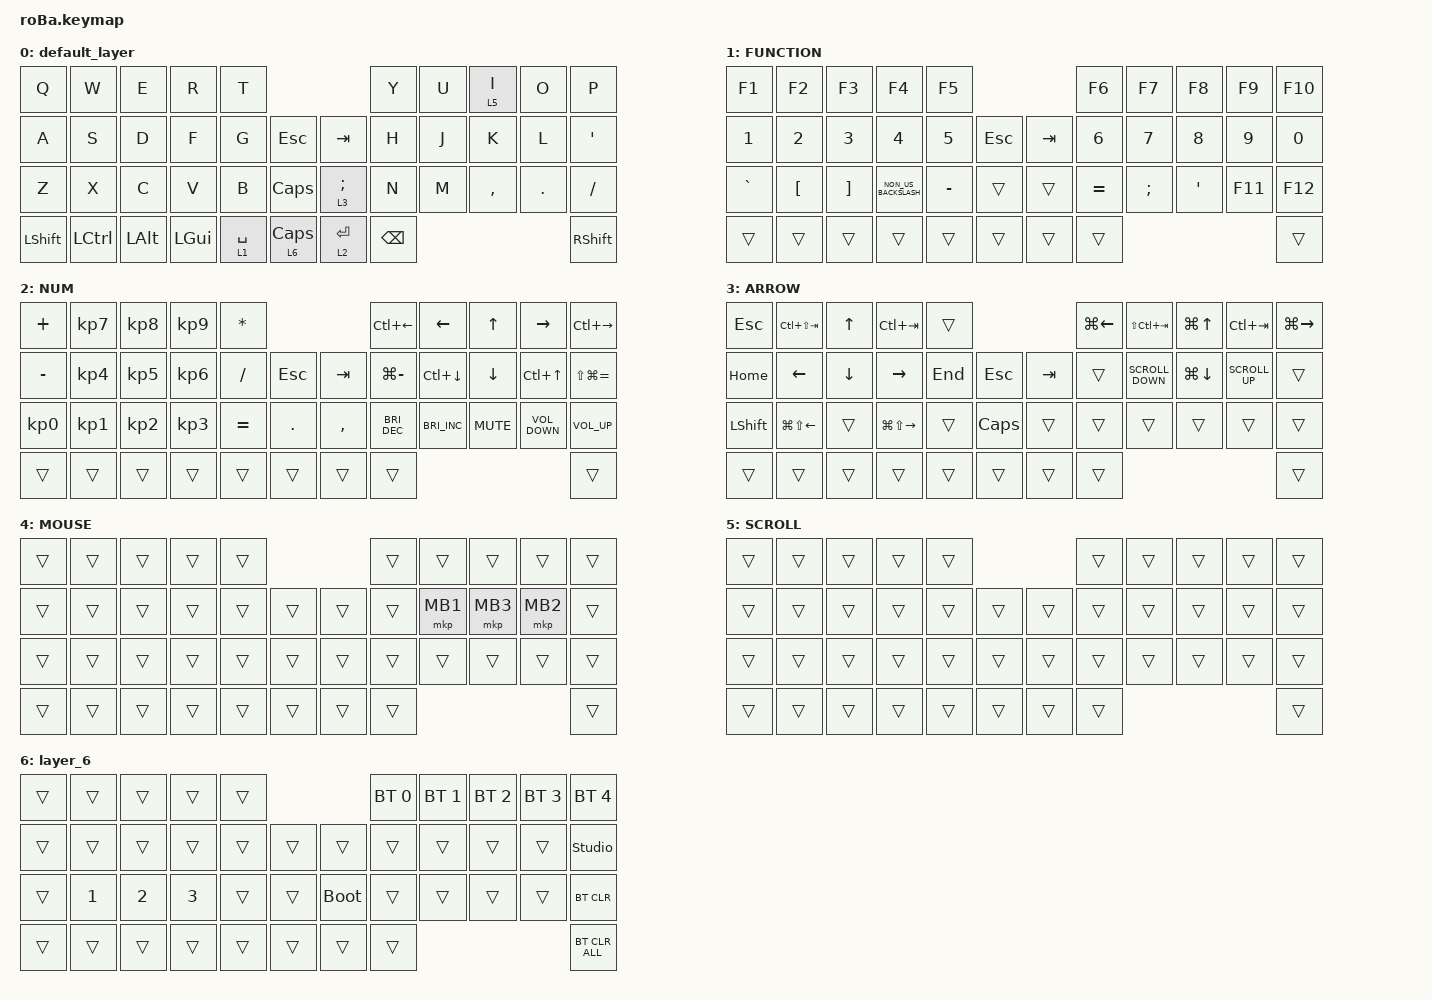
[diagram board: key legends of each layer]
#include <behaviors.dtsi>
#include <dt-bindings/zmk/bt.h>
#include <dt-bindings/zmk/keys.h>
#include <dt-bindings/zmk/pointing.h>

&mt {
    flavor = "balanced";
    quick-tap-ms = <0>;
};

&trackball {
    automouse-layer = <4>;
    scroll-layers = <5>;

    // arrows {
    //     layers = <3>;
    //     bindings =
    //         <&kp RIGHT_ARROW>,
    //         <&kp LEFT_ARROW>,
    //         <&kp UP_ARROW>,
    //         <&kp DOWN_ARROW>;
    //     tick = <10>;
    //     wait-ms = <5>;
    //     tap-ms = <5>;
    // };
};

/ {
    combos {
        compatible = "zmk,combos";

        tab {
            bindings = <&kp TAB>;
            key-positions = <11 12>;
        };

        shift_tab {
            bindings = <&kp LS(TAB)>;
            key-positions = <12 13>;
        };

        muhennkann {
            bindings = <&to_layer_0 INT_MUHENKAN>;
            key-positions = <11 10>;
        };

        double_quotation {
            bindings = <&kp DOUBLE_QUOTES>;
            key-positions = <20 21>;
        };

        eq {
            bindings = <&kp EQUAL>;
            key-positions = <24 25>;
        };
    };

    macros {
        to_layer_0: to_layer_0 {
            compatible = "zmk,behavior-macro-one-param";
            #binding-cells = <1>;
            bindings = <&to 0 &macro_param_1to1 &kp MACRO_PLACEHOLDER>;
            label = "TO_LAYER_0";
        };
    };

    behaviors {
        lt_to_layer_0: lt_to_layer_0 {
            compatible = "zmk,behavior-hold-tap";
            label = "LAYER_TAP_TO_0";
            bindings = <&mo>, <&to_layer_0>;

            #binding-cells = <2>;
            tapping-term-ms = <200>;
        };
    };

    keymap {
        compatible = "zmk,keymap";

        default_layer {
            bindings = <
&kp Q           &kp W             &kp E         &kp R         &kp T                                             &kp Y          &kp U  &lt 5 I    &kp O    &kp P
&kp A           &kp S             &kp D         &kp F         &kp G        &kp ESCAPE          &kp TAB          &kp H          &kp J  &kp K      &kp L    &kp SQT
&kp Z           &kp X             &kp C         &kp V         &kp B        &kp CAPS            &lt 3 SEMICOLON  &kp N          &kp M  &kp COMMA  &kp DOT  &kp SLASH
&kp LEFT_SHIFT  &kp LEFT_CONTROL  &kp LEFT_ALT  &kp LEFT_GUI  &lt 1 SPACE  &lt 6 CAPSLOCK      &lt 2 RETURN     &kp BACKSPACE                             &kp RIGHT_SHIFT
            >;
        };

        FUNCTION {
            bindings = <
&kp F1     &kp F2            &kp F3             &kp F4                &kp F5                                 &kp F6        &kp F7         &kp F8        &kp F9        &kp F10
&kp N1     &kp NUMBER_2      &kp NUMBER_3       &kp NUMBER_4          &kp NUMBER_5  &kp ESCAPE      &kp TAB  &kp NUMBER_6  &kp NUMBER_7   &kp NUMBER_8  &kp NUMBER_9  &kp NUMBER_0
&kp GRAVE  &kp LEFT_BRACKET  &kp RIGHT_BRACKET  &kp NON_US_BACKSLASH  &kp MINUS     &trans          &trans   &kp EQUAL     &kp SEMICOLON  &kp SQT       &kp F11       &kp F12
&trans     &trans            &trans             &trans                &trans        &trans          &trans   &trans                                                   &trans
            >;
        };

        NUM {
            bindings = <
&kp PLUS         &kp KP_NUMBER_7  &kp KP_NUMBER_8  &kp KP_NUMBER_9  &kp ASTERISK                             &kp LC(LEFT)          &kp LEFT              &kp UP_ARROW  &kp RIGHT          &kp LC(RIGHT)
&kp MINUS        &kp KP_NUMBER_4  &kp KP_NUMBER_5  &kp KP_NUMBER_6  &kp SLASH     &kp ESCAPE      &kp TAB    &kp LG(MINUS)         &kp LC(DOWN_ARROW)    &kp DOWN      &kp LC(UP_ARROW)   &kp LS(LG(EQUAL))
&kp KP_NUMBER_0  &kp KP_NUMBER_1  &kp KP_NUMBER_2  &kp KP_NUMBER_3  &kp EQUAL     &kp PERIOD      &kp COMMA  &kp C_BRIGHTNESS_DEC  &kp C_BRIGHTNESS_INC  &kp C_MUTE    &kp C_VOLUME_DOWN  &kp C_VOLUME_UP
&trans           &trans           &trans           &trans           &trans        &trans          &trans     &trans                                                                       &trans
            >;
        };

        ARROW {
            bindings = <
&kp ESCAPE      &kp LC(LS(TAB))         &kp UP_ARROW    &kp LC(TAB)              &trans                          &kp LG(LEFT)  &kp LS(LC(TAB))    &kp LG(UP_ARROW)  &kp LC(TAB)      &kp LG(RIGHT)
&kp HOME        &kp LEFT_ARROW          &kp DOWN_ARROW  &kp RIGHT_ARROW          &kp END  &kp ESC       &kp TAB  &trans        &kp K_SCROLL_DOWN  &kp LG(DOWN)      &kp K_SCROLL_UP  &trans
&kp LEFT_SHIFT  &kp LG(LS(LEFT_ARROW))  &trans          &kp LG(LS(RIGHT_ARROW))  &trans   &kp CAPS      &trans   &trans        &trans             &trans            &trans           &trans
&trans          &trans                  &trans          &trans                   &trans   &trans        &trans   &trans                                                              &trans
            >;
        };

        MOUSE {
            bindings = <
&trans  &trans  &trans  &trans  &trans                      &trans  &trans    &trans    &trans    &trans
&trans  &trans  &trans  &trans  &trans  &trans      &trans  &trans  &mkp MB1  &mkp MB3  &mkp MB2  &trans
&trans  &trans  &trans  &trans  &trans  &trans      &trans  &trans  &trans    &trans    &trans    &trans
&trans  &trans  &trans  &trans  &trans  &trans      &trans  &trans                                &trans
            >;
        };

        SCROLL {
            bindings = <
&trans  &trans  &trans  &trans  &trans                      &trans  &trans  &trans  &trans  &trans
&trans  &trans  &trans  &trans  &trans  &trans      &trans  &trans  &trans  &trans  &trans  &trans
&trans  &trans  &trans  &trans  &trans  &trans      &trans  &trans  &trans  &trans  &trans  &trans
&trans  &trans  &trans  &trans  &trans  &trans      &trans  &trans                          &trans
            >;
        };

        layer_6 {
            bindings = <
&trans  &trans        &trans        &trans        &trans                           &bt BT_SEL 0  &bt BT_SEL 1  &bt BT_SEL 2  &bt BT_SEL 3  &bt BT_SEL 4
&trans  &trans        &trans        &trans        &trans  &trans      &trans       &trans        &trans        &trans        &trans        &studio_unlock
&trans  &kp NUMBER_1  &kp NUMBER_2  &kp NUMBER_3  &trans  &trans      &bootloader  &trans        &trans        &trans        &trans        &bt BT_CLR
&trans  &trans        &trans        &trans        &trans  &trans      &trans       &trans                                                  &bt BT_CLR_ALL
            >;
        };
    };
};
